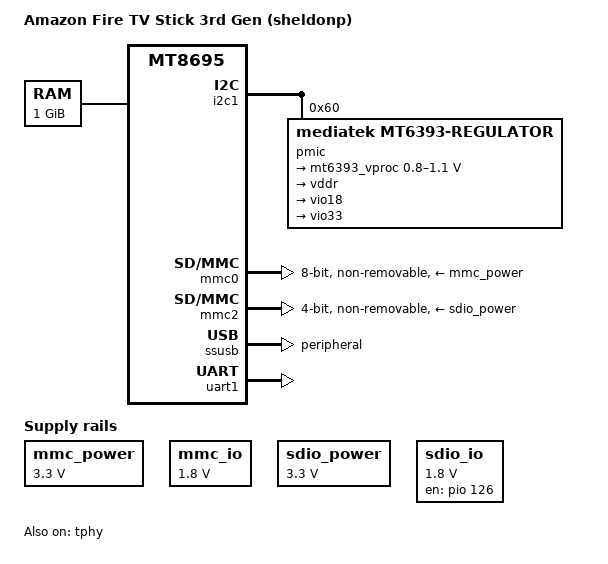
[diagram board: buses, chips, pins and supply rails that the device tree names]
// SPDX-License-Identifier: (GPL-2.0 OR MIT)
/*
 * Amazon Fire TV Stick 3rd Gen (sheldonp)
 *
 * The Fire TV Stick Lite (sheldon) has the same board as far as the vendor
 * DT is concerned.
 */

/dts-v1/;
#include "mt8695.dtsi"
#include <dt-bindings/gpio/gpio.h>

/ {
	model = "Amazon Fire TV Stick 3rd Gen (sheldonp)";
	chassis-type = "embedded";
	compatible = "amazon,sheldonp", "mediatek,mt8695";

	aliases {
		mmc0 = &mmc0;
		mmc2 = &mmc2;
		serial0 = &uart1;
	};

	chosen {
		stdout-path = "serial0:921600n8";
	};

	memory@40000000 {
		device_type = "memory";
		reg = <0 0x40000000 0 0x40000000>;
	};

	/* Both rails are fixed on the board; nothing in software switches them. */
	mmc_power: regulator-mmc-power {
		compatible = "regulator-fixed";
		regulator-name = "mmc_power";
		regulator-min-microvolt = <3300000>;
		regulator-max-microvolt = <3300000>;
		regulator-always-on;
	};

	mmc_io: regulator-mmc-io {
		compatible = "regulator-fixed";
		regulator-name = "mmc_io";
		regulator-min-microvolt = <1800000>;
		regulator-max-microvolt = <1800000>;
		regulator-always-on;
	};

	/*
	 * The MT7663 Wi-Fi/BT module on MSDC2: a fixed 3.3 V supply, and a
	 * 1.8 V I/O rail switched by GPIO126, which also powers the module up
	 * and down with the SDIO host.
	 */
	sdio_power: regulator-sdio-power {
		compatible = "regulator-fixed";
		regulator-name = "sdio_power";
		regulator-min-microvolt = <3300000>;
		regulator-max-microvolt = <3300000>;
		regulator-always-on;
	};

	sdio_io: regulator-sdio-io {
		compatible = "regulator-fixed";
		regulator-name = "sdio_io";
		regulator-min-microvolt = <1800000>;
		regulator-max-microvolt = <1800000>;
		gpio = <&pio 126 GPIO_ACTIVE_HIGH>;
		enable-active-high;
	};

	reserved-memory {
		/* Preloader/LK debug buffers, kept intact across warm resets */
		ram-console@44400000 {
			reg = <0 0x44400000 0 0x10000>;
			no-map;
		};

		/*
		 * Same region and layout as the bring-up ramoops in the vendor
		 * 4.4 kernel, so either kernel can read what the other logged
		 * before a warm reset.
		 */
		ramoops@44440000 {
			compatible = "ramoops";
			reg = <0 0x44440000 0 0x80000>;
			record-size = <0x10000>;
			console-size = <0x40000>;
			no-map;
		};

		minirdump@444f0000 {
			reg = <0 0x444f0000 0 0x10000>;
			no-map;
		};

		/* Secure world and bootloader carveouts above System RAM */
		tee-reserved-memory@79bc0000 {
			reg = <0 0x79bc0000 0 0x6440000>;
			no-map;
		};
	};
};

&cpu0 {
	proc-supply = <&mt6393_vproc>;
};

&cpu1 {
	proc-supply = <&mt6393_vproc>;
};

&cpu2 {
	proc-supply = <&mt6393_vproc>;
};

&cpu3 {
	proc-supply = <&mt6393_vproc>;
};

&i2c1 {
	pinctrl-names = "default";
	pinctrl-0 = <&i2c1_pins>;
	status = "okay";

	pmic@60 {
		compatible = "mediatek,mt6393-regulator";
		reg = <0x60>;

		regulators {
			mt6393_vproc: buck-vproc {
				regulator-name = "vproc";
				regulator-min-microvolt = <800000>;
				regulator-max-microvolt = <1100000>;
				/*
				 * Not documented; a conservative slew, so the
				 * voltage has settled before the CPU clock rises.
				 */
				regulator-ramp-delay = <5000>;
				regulator-always-on;
				regulator-boot-on;
			};

			buck-vddr {
				regulator-name = "vddr";
				regulator-always-on;
				regulator-boot-on;
			};

			buck-vio18 {
				regulator-name = "vio18";
				regulator-always-on;
				regulator-boot-on;
			};

			buck-vio33 {
				regulator-name = "vio33";
				regulator-always-on;
				regulator-boot-on;
			};
		};
	};
};

&mmc0 {
	pinctrl-names = "default", "state_uhs";
	pinctrl-0 = <&mmc0_pins_default>;
	pinctrl-1 = <&mmc0_pins_uhs>;
	bus-width = <8>;
	max-frequency = <200000000>;
	cap-mmc-highspeed;
	mmc-hs200-1_8v;
	mmc-hs400-1_8v;
	hs400-ds-delay = <0x14019>;
	cap-mmc-hw-reset;
	no-sd;
	no-sdio;
	vmmc-supply = <&mmc_power>;
	vqmmc-supply = <&mmc_io>;
	non-removable;
	status = "okay";
};

&mmc2 {
	pinctrl-names = "default", "state_uhs";
	pinctrl-0 = <&mmc2_pins_default>;
	pinctrl-1 = <&mmc2_pins_uhs>;
	bus-width = <4>;
	max-frequency = <100000000>;
	cap-sd-highspeed;
	/*
	 * The vendor DT also allows SDR104, but without the vendor driver's
	 * tuning it gets data CRC errors on writes, and then the module stops
	 * answering. SDR50 is still far faster than the Wi-Fi link.
	 */
	sd-uhs-sdr50;
	keep-power-in-suspend;
	cap-sdio-irq;
	non-removable;
	no-mmc;
	no-sd;
	vmmc-supply = <&sdio_power>;
	vqmmc-supply = <&sdio_io>;
	status = "okay";
};

&pio {
	mmc0_pins_default: mmc0-default-pins {
		pins-cmd-dat {
			pinmux = <MT8695_PIN_44_EMMC_DAT0__FUNC_MSDC0_DAT0>,
				 <MT8695_PIN_43_EMMC_DAT1__FUNC_MSDC0_DAT1>,
				 <MT8695_PIN_42_EMMC_DAT2__FUNC_MSDC0_DAT2>,
				 <MT8695_PIN_41_EMMC_DAT3__FUNC_MSDC0_DAT3>,
				 <MT8695_PIN_40_EMMC_DAT4__FUNC_MSDC0_DAT4>,
				 <MT8695_PIN_39_EMMC_DAT5__FUNC_MSDC0_DAT5>,
				 <MT8695_PIN_38_EMMC_DAT6__FUNC_MSDC0_DAT6>,
				 <MT8695_PIN_37_EMMC_DAT7__FUNC_MSDC0_DAT7>,
				 <MT8695_PIN_45_EMMC_CMD__FUNC_MSDC0_CMD>;
			input-enable;
			drive-strength = <MTK_DRIVE_6mA>;
			bias-pull-up = <MTK_PUPD_SET_R1R0_01>;
		};

		pins-clk {
			pinmux = <MT8695_PIN_36_EMMC_CLK__FUNC_MSDC0_CLK>;
			drive-strength = <MTK_DRIVE_6mA>;
			bias-pull-down = <MTK_PUPD_SET_R1R0_10>;
		};

		pins-rst {
			pinmux = <MT8695_PIN_46_EMMC_RSTB__FUNC_MSDC0_RSTB>;
			bias-pull-up;
		};
	};

	mmc0_pins_uhs: mmc0-uhs-pins {
		pins-cmd-dat {
			pinmux = <MT8695_PIN_44_EMMC_DAT0__FUNC_MSDC0_DAT0>,
				 <MT8695_PIN_43_EMMC_DAT1__FUNC_MSDC0_DAT1>,
				 <MT8695_PIN_42_EMMC_DAT2__FUNC_MSDC0_DAT2>,
				 <MT8695_PIN_41_EMMC_DAT3__FUNC_MSDC0_DAT3>,
				 <MT8695_PIN_40_EMMC_DAT4__FUNC_MSDC0_DAT4>,
				 <MT8695_PIN_39_EMMC_DAT5__FUNC_MSDC0_DAT5>,
				 <MT8695_PIN_38_EMMC_DAT6__FUNC_MSDC0_DAT6>,
				 <MT8695_PIN_37_EMMC_DAT7__FUNC_MSDC0_DAT7>,
				 <MT8695_PIN_45_EMMC_CMD__FUNC_MSDC0_CMD>;
			input-enable;
			drive-strength = <MTK_DRIVE_6mA>;
			bias-pull-up = <MTK_PUPD_SET_R1R0_01>;
		};

		pins-clk {
			pinmux = <MT8695_PIN_36_EMMC_CLK__FUNC_MSDC0_CLK>;
			drive-strength = <MTK_DRIVE_6mA>;
			bias-pull-down = <MTK_PUPD_SET_R1R0_10>;
		};

		pins-ds {
			pinmux = <MT8695_PIN_35_EMMC_DSL__FUNC_MSDC0_DSL>;
			drive-strength = <MTK_DRIVE_6mA>;
			bias-pull-down = <MTK_PUPD_SET_R1R0_10>;
		};

		pins-rst {
			pinmux = <MT8695_PIN_46_EMMC_RSTB__FUNC_MSDC0_RSTB>;
			bias-pull-up;
		};
	};

	i2c1_pins: i2c1-pins {
		pins-bus {
			pinmux = <MT8695_PIN_56_SDA1__FUNC_SDA1>,
				 <MT8695_PIN_57_SCL1__FUNC_SCL1>;
			bias-pull-up;
		};
	};

	mmc2_pins_default: mmc2-default-pins {
		pins-cmd-dat {
			pinmux = <MT8695_PIN_33_MSDC2_DATA0__FUNC_MSDC2_DAT0>,
				 <MT8695_PIN_32_MSDC2_DATA1__FUNC_MSDC2_DAT1>,
				 <MT8695_PIN_31_MSDC2_DATA2__FUNC_MSDC2_DAT2>,
				 <MT8695_PIN_30_MSDC2_DATA3__FUNC_MSDC2_DAT3>,
				 <MT8695_PIN_34_MSDC2_CMD__FUNC_MSDC2_CMD>;
			input-enable;
			drive-strength = <MTK_DRIVE_6mA>;
			bias-pull-up = <MTK_PUPD_SET_R1R0_10>;
		};

		pins-clk {
			pinmux = <MT8695_PIN_28_MSDC2_CLK__FUNC_MSDC2_CLK>;
			drive-strength = <MTK_DRIVE_6mA>;
			bias-pull-down = <MTK_PUPD_SET_R1R0_10>;
		};
	};

	/* Same as the default state, as in the vendor DT */
	mmc2_pins_uhs: mmc2-uhs-pins {
		pins-cmd-dat {
			pinmux = <MT8695_PIN_33_MSDC2_DATA0__FUNC_MSDC2_DAT0>,
				 <MT8695_PIN_32_MSDC2_DATA1__FUNC_MSDC2_DAT1>,
				 <MT8695_PIN_31_MSDC2_DATA2__FUNC_MSDC2_DAT2>,
				 <MT8695_PIN_30_MSDC2_DATA3__FUNC_MSDC2_DAT3>,
				 <MT8695_PIN_34_MSDC2_CMD__FUNC_MSDC2_CMD>;
			input-enable;
			drive-strength = <MTK_DRIVE_6mA>;
			bias-pull-up = <MTK_PUPD_SET_R1R0_10>;
		};

		pins-clk {
			pinmux = <MT8695_PIN_28_MSDC2_CLK__FUNC_MSDC2_CLK>;
			drive-strength = <MTK_DRIVE_6mA>;
			bias-pull-down = <MTK_PUPD_SET_R1R0_10>;
		};
	};
};

&ssusb {
	/* Device mode only for now; the ID pin (GPIO55) reads high. */
	dr_mode = "peripheral";
	status = "okay";
};

&tphy {
	status = "okay";
};

/* The micro-USB port; eye-pattern tuning from the vendor DT */
&u2port0 {
	mediatek,eye-src = <3>;
	mediatek,eye-vrt = <4>;
	mediatek,eye-term = <4>;
};

&uart1 {
	status = "okay";
};
